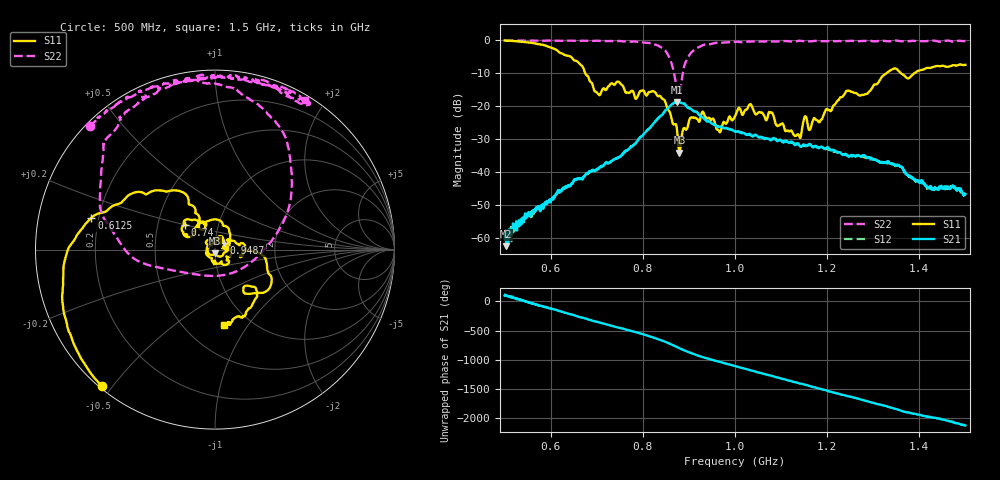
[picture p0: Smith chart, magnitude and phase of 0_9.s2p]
!Agilent Technologies,E8364B,US42250235,A.06.04.32
!Agilent E8364B: A.06.04.32
!Date: Friday, January 15, 2021 16:18:04
!Correction: S11(Full 2 Port(1,2)) S21(Full 2 Port(1,2)) S12(Full 2 Port(1,2)) S22(Full 2 Port(1,2))
!S2P File: Measurements: S11, S21, S12, S22:
# Hz S  dB  R 50
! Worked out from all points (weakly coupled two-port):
!   1601 points, 500 MHz to 1.5 GHz, reference 50 ohm
!   highest |S21| = -18.74 dB at 873.1 MHz (marker M1); lowest = -62.4 dB at 503.8 MHz (marker M2)
!   lowest |S11| = -34.1 dB at 879.4 MHz (marker M3), VSWR 1.04, Z = 50.2 - j1.97 ohm
!   |S11| at or under -10 dB: 674.7 MHz to 1.329 GHz (654.1 MHz wide, 65.3 % of centre); 1.36 GHz to 1.39 GHz (29.72 MHz wide, 2.16 % of centre)
!   |S22| runs from -16.7 to -0.1 dB; largest |S21 - S12| = 0.0026
!   S11 on the Smith chart (normalised r, x): 500 MHz: 0.01, -0.47; 612.5 MHz: 0.17, +0.12; 740 MHz: 0.69, +0.20; 948.8 MHz: 1.11, +0.08; 1.5 GHz: 0.76, -0.78
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5e8  -0.12 -129.5  -59.87 100.9  -60.11 110.6  -0.16 135.3
5.0375e8  -0.13 -131.1  -62.45 94.6  -62.06 114.4  -0.17 134.9
5.6375e8  -0.94 -161.3  -51.57 -41.3  -51.74 -44.3  -0.16 128.2
6.125e8  -2.96 165.6  -46.53 -145.1  -46.70 -147.4  -0.19 122.8
6.66875e8  -7.66 127.6  -41.91 83.1  -42.09 83.3  -0.21 115.2
7.025e8  -16.26 136.5  -39.13 5.1  -38.96 5.4  -0.21 111.6
7.4e8  -13.34 140.9  -36.00 -76.4  -35.98 -75.7  -0.37 103.8
8.3375e8  -17.04 70.2  -23.62 69.9  -23.54 70.0  -1.73 69.6
8.575e8  -21.55 15.2  -20.23 -2.1  -20.28 -2.4  -5.27 38.2
8.73125e8  -26.12 -51.7  -18.74 -59.6  -18.74 -59.3  -14.16 -27.7
8.79375e8  -34.12 -84.4  -18.81 -83.3  -18.75 -83.0  -16.60 -97.2
9.05e8  -23.48 134.2  -20.93 -166.9  -20.99 -167.3  -3.74 163.5
9.4875e8  -24.16 34.0  -25.23 81.8  -24.98 82.6  -1.17 128.4
9.65625e8  -27.64 12.8  -26.37 48.5  -26.18 46.6  -0.83 124.2
1e9  -23.07 11.0  -27.68 -28.9  -27.55 -29.2  -0.51 114.4
1.033125e9  -19.41 -46.4  -28.58 -100.2  -28.74 -100.8  -0.45 109.1
1.1375e9  -28.63 97.1  -31.38 39.4  -31.63 38.7  -0.26 92.9
1.15125e9  -23.25 70.7  -31.75 13.8  -32.00 11.5  -0.35 95.3
1.166875e9  -25.27 49.6  -32.24 -22.1  -32.17 -21.3  -0.37 89.7
1.243125e9  -15.32 3.8  -34.90 178.6  -34.90 -179.7  -0.28 82.2
1.33375e9  -9.49 -24.7  -36.96 -9.2  -37.23 -8.9  -0.37 75.1
1.5e9  -7.52 -83.2  -46.61 35.1  -46.84 32.9  -0.26 59.0
